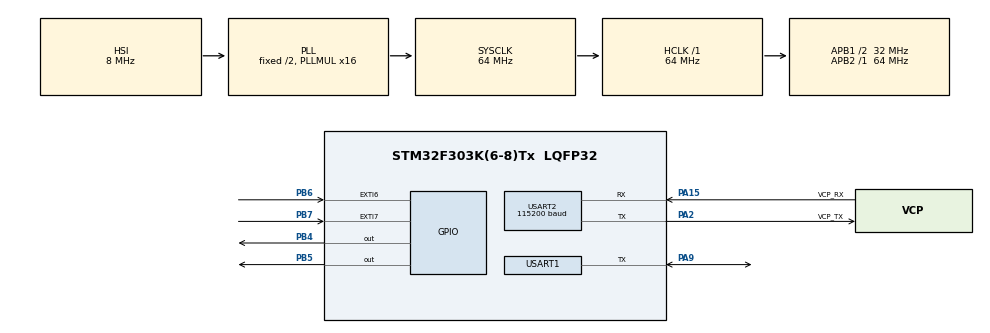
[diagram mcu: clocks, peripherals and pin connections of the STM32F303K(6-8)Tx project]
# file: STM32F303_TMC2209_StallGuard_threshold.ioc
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Mcu.Family=STM32F3
Mcu.Name=STM32F303K(6-8)Tx
Mcu.Package=LQFP32
NVIC.EXTI9_5_IRQn=true\:1\:0\:true\:false\:true\:true\:true\:true
NVIC.PriorityGroup=NVIC_PRIORITYGROUP_4
NVIC.TIM2_IRQn=true\:2\:0\:true\:false\:true\:true\:true\:true
NVIC.TIM3_IRQn=true\:2\:0\:true\:false\:true\:true\:true\:true
NVIC.USART2_IRQn=true\:0\:0\:false\:false\:true\:true\:true\:true
PA13.GPIO_Label=SWDIO
PA13.Mode=Serial_Wire
PA13.Signal=SYS_JTMS-SWDIO
PA14.GPIO_Label=SWCLK
PA14.Mode=Serial_Wire
PA14.Signal=SYS_JTCK-SWCLK
PA15.GPIO_Label=VCP_RX
PA15.Mode=Asynchronous
PA15.Signal=USART2_RX
PA2.GPIO_Label=VCP_TX
PA2.Mode=Asynchronous
PA2.Signal=USART2_TX
PA9.Mode=Half_duplex(single_wire_mode)
PA9.Signal=USART1_TX
PB4.Signal=GPIO_Output
PB5.Signal=GPIO_Output
PB6.GPIO_ModeDefaultEXTI=GPIO_MODE_IT_RISING_FALLING
PB6.Signal=GPXTI6
PB7.GPIO_ModeDefaultEXTI=GPIO_MODE_IT_RISING_FALLING
PB7.Signal=GPXTI7
PF0\ /\ OSC_IN.GPIO_Label=MCO
PF0\ /\ OSC_IN.Signal=RCC_OSC_IN
ProjectManager.HeapSize=0x200
ProjectManager.StackSize=0x400
ProjectManager.TargetToolchain=STM32CubeIDE
RCC.AHBFreq_Value=64000000
RCC.APB1CLKDivider=RCC_HCLK_DIV2
RCC.APB1Freq_Value=32000000
RCC.APB1TimFreq_Value=64000000
RCC.APB2Freq_Value=64000000
RCC.APB2TimFreq_Value=64000000
RCC.CortexFreq_Value=64000000
RCC.HCLKFreq_Value=64000000
RCC.HSE_VALUE=8000000
RCC.HSI_VALUE=8000000
RCC.PLLMUL=RCC_PLL_MUL16
RCC.SYSCLKFreq_VALUE=64000000
RCC.SYSCLKSourceVirtual=RCC_SYSCLKSOURCE_PLLCLK
TIM2.AutoReloadPreload=TIM_AUTORELOAD_PRELOAD_DISABLE
TIM2.Channel-Output\ Compare1\ No\ Output=TIM_CHANNEL_1
TIM2.Period=65535
TIM2.Prescaler=12800-1
TIM3.AutoReloadPreload=TIM_AUTORELOAD_PRELOAD_DISABLE
TIM3.Channel-Output\ Compare1\ No\ Output=TIM_CHANNEL_1
TIM3.Period=65535
TIM3.Prescaler=640-1
USART1.BaudRate=500000
USART1.VirtualMode-Half_duplex(single_wire_mode)=VM_ASYNC
USART2.BaudRate=115200
USART2.VirtualMode-Asynchronous=VM_ASYNC
VP_TIM2_VS_ClockSourceINT.Mode=Internal
VP_TIM2_VS_no_output1.Mode=Output Compare1 No Output
VP_TIM3_VS_ClockSourceINT.Mode=Internal
VP_TIM3_VS_no_output1.Mode=Output Compare1 No Output
board=NUCLEO-F303K8

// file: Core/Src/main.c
/* USER CODE BEGIN Header */
/**
  ******************************************************************************
  * @file           : main.c
  * @brief          : Main program body
  ******************************************************************************
  * @attention
  *
  * Copyright (c) 2022 STMicroelectronics.
  * All rights reserved.
  *
  * This software is licensed under terms that can be found in the LICENSE file
  * in the root directory of this software component.
  * If no LICENSE file comes with this software, it is provided AS-IS.
  *
  ******************************************************************************
  */
/* USER CODE END Header */
#include "main.h"

/* USER CODE BEGIN Includes */
#include <stdio.h>
#include "tmc/ic/TMC2209/TMC2209.h"
#include <math.h>

/* USER CODE END Includes */

/* USER CODE BEGIN PTD */
typedef struct {
	float acceleration;
	volatile unsigned int minStepInterval;
	void (*dirFunc)(int);
	void (*stepFunc)();

	uint8_t homing;
	unsigned int c0;
	volatile int stepPosition;

	volatile int dir; // 1 or -1
	volatile int dir_inv; //set 1 to reverse the dir

	volatile int pull_off; //set pull_off distance

	volatile int seeking_vel;
	volatile int homing_vel;

	volatile unsigned int totalSteps;

	volatile char movementDone;
	volatile unsigned int rampUpStepCount;
	volatile unsigned int n; // index
	volatile float d; // current interval length
	volatile unsigned long di; // d -> unsigned  di
	volatile unsigned int stepCount;

}stepperInfo;

typedef struct{
	volatile unsigned int checkcount;
}checkerInfo;

/* USER CODE END PTD */

/* USER CODE BEGIN PD */
#define TMC2209_CRC(data, length) tmc_CRC8(data, length, 1)

//#define NUM_stepper 1

/* USER CODE END PD */

 TIM_HandleTypeDef htim2;
TIM_HandleTypeDef htim3;

UART_HandleTypeDef huart1;
UART_HandleTypeDef huart2;

/* USER CODE BEGIN PV */
//static TMC2209TypeDef TMC2209; //TMC2209の設定などの定義
//static ConfigurationTypeDef *TMC2209_config; //TMC2209の設定
TMC2209TypeDef TMC2209; //TMC2209の設定などの定義
ConfigurationTypeDef TMC2209_config; //TMC2209の設定
volatile stepperInfo stepper[1];    //stepperInfo型の配列stepperにNUM_stepperで定義した値を代入
volatile checkerInfo currentget[1];
uint8_t current_stall = 0;

/* USER CODE END PV */

void SystemClock_Config(void);
static void MX_GPIO_Init(void);
static void MX_USART2_UART_Init(void);
static void MX_USART1_UART_Init(void);
static void MX_TIM3_Init(void);
static void MX_TIM2_Init(void);
/* USER CODE BEGIN PFP */
//static void periodicJob(uint32_t tick);
static uint8_t reset(void);
static uint8_t restore(void);
//static TMC2209TypeDef TMC2209;

/* USER CODE END PFP */

/* USER CODE BEGIN 0 */

/*void HAL_TIM_PeriodElapsedCallback(TIM_HandleTypeDef *htim)
{
    if (htim == &htim3){ //htim3に設定したタイマー割り込みの時間で発火する
        HAL_GPIO_TogglePin(GPIOB, GPIO_PIN_5);//ピンの出力を切り替え
    }
}*/
void tmc2209_readWriteArray(uint8_t channel, uint8_t *data, size_t writeLength, size_t readLength)
{
	//set your uart read write
	//UART_readWrite(channelToUART(channel), data, writeLength, readLength);
	HAL_HalfDuplex_EnableTransmitter(&huart1);
	HAL_UART_Transmit(&huart1, data, writeLength,100);

	if(readLength > 0){
		HAL_HalfDuplex_EnableReceiver(&huart1);
		HAL_UART_Receive(&huart1, data, readLength, 100);
	}
}

uint8_t tmc2209_CRC8(uint8_t *data, size_t length)
{
	return TMC2209_CRC(data, length);
}

static uint8_t reset()
{
	//StepDir_init(STEPDIR_PRECISION);
	//StepDir_setPins(0, Pins.STEP, Pins.DIR, Pins.DIAG);

	return tmc2209_reset(&TMC2209);
}

static uint8_t restore()
{
	return tmc2209_restore(&TMC2209);
}

void TMC2209_INIT()
{
	tmc_fillCRC8Table(0x07, true, 1);

	TMC2209_config.reset = reset;
	TMC2209_config.restore = restore;
	tmc2209_init(&TMC2209, 0, 0, &TMC2209_config, &tmc2209_defaultRegisterResetState[0]);

	//restore();
}

static inline TMC2209TypeDef *motorToIC(uint8_t motor)
{
	UNUSED(motor);

	return &TMC2209;
}
uint8_t currentchekflag=0;
uint8_t currentcompareflag=0;
void currentcheck(){
//	__HAL_TIM_SET_COMPARE(&htim2, TIM_CHANNEL_1, 65500);
	int32_t current_value = 0;
		int32_t DIAG_value = 0;
		int32_t tstep_value = 0;
		int32_t SGTHRS_value = 0;
	//
		tstep_value=TMC2209_FIELD_READ(&TMC2209, TMC2209_TSTEP, TMC2209_TSTEP_MASK, TMC2209_TSTEP_SHIFT);
		printf("tstep: %ld\r\n", tstep_value);
		tmc2209_periodicJob(&TMC2209, HAL_GetTick());

//		SGTHRS_value = tmc2209_readInt(&TMC2209, TMC2209_SGTHRS);
//		printf("SGTHRS: %d\r\n", SGTHRS_value);

		current_value=tmc2209_readInt(&TMC2209, TMC2209_SG_RESULT);	//保持トルクの設定
		printf("SG_RESULT : %ld\r\n", current_value);

	//	current_value = 3;
	//	TMC2209_FIELD_UPDATE(&TMC2209, TMC2209_GCONF, TMC2209_DIAG_MASK, TMC2209_DIAG_SHIFT,toff_value);
	//	tmc2209_periodicJob(&TMC2209, HAL_GetTick());

	//	DIAG_value=TMC2209_FIELD_READ(&TMC2209, TMC2209_GCONF, TMC2209_DIAG_MASK, TMC2209_DIAG_SHIFT);
	//	printf("DIAG : %ld\r\n", DIAG_value);
	//	tmc2209_periodicJob(&TMC2209, HAL_GetTick());
		//currentcompareflag=1;

}

//void HAL_GPIO_EXTI_Callback(uint16_t GPIO_Pin){
//	if(GPIO_Pin == GPIO_PIN_7 ){
//			if(!HAL_GPIO_ReadPin(GPIOB, GPIO_PIN_7)){
//				current_stall|= 0;
//			}
//			if(HAL_GPIO_ReadPin(GPIOB, GPIO_PIN_7)){
//				printf("current_stall!!rn");
//				current_stall = 1;
//			}
//		}
//}

void Step0(){                                       //step pin
	//pull+

	HAL_GPIO_WritePin(GPIOB, GPIO_PIN_5, GPIO_PIN_RESET);
	HAL_GPIO_WritePin(GPIOB, GPIO_PIN_5, GPIO_PIN_SET);
}

void Dir0(int dir){
	HAL_GPIO_WritePin(GPIOB, GPIO_PIN_4, dir); //Dir0関数にdirピンを指定して格納
}

uint8_t remainingstepperFlag = 0;
uint8_t stopflag = 0;
void motorrotate(int absolute_steps){
	volatile stepperInfo* si = &stepper[0];	//stepper[0]のアドレスをstepperInfo* si に代入
	int steps = absolute_steps - si->stepPosition;
//	printf("steps:%d\r\n",steps);
	if(steps == 0){
					return;
				}
	si->dirFunc( steps < 0 ? 1 : 0);	//Dir0のプラスマイナスの判定して0より小さいなら1、大きいなら0をHAL_GPIO_WritePin(GPIOB, GPIO_PIN_4, dir)のdirにいれる
	si->dir = steps > 0 ? 1:-1;			//stepsが0より大きければ1、小さければ２をdirにいれる
	si->totalSteps = abs(steps);	//stepsの値をアブソリュートでtotalstepsに格納
	si->di = si->acceleration;      //変数*siがメンバc0にアクセス.した値に変数*siがメンバaccelerationにアクセス.した値を代入する
	si->stepCount = 0;
	si->n = 0;
//	printf("steps:%d\r\n",steps);
	remainingstepperFlag |= 1;
}
volatile uint8_t nextStepperFlag = 0;
void setNextInterruptInterval(){
	unsigned int mind = 999999;
	if( (remainingstepperFlag) && stepper[0].di < mind ){
		mind = stepper[0].di;		//diに格納されているの(acceleration)を読み込む
	}
	nextStepperFlag = 0;
	if( 1 && stepper[0].di == mind ){
		nextStepperFlag |= 1;
	}
	__HAL_TIM_SET_COMPARE(&htim3, TIM_CHANNEL_1, mind);		//mindにコンペアを設定
	if (remainingstepperFlag == 0){
		__HAL_TIM_SET_COMPARE(&htim3, TIM_CHANNEL_1, 65500);
	}
	__HAL_TIM_SET_COMPARE(&htim3, TIM_CHANNEL_1, mind);
	//printf("nownompare:%d\r\n",mind);

}
void rotationalprocess(){
	__HAL_TIM_SET_COMPARE(&htim3, TIM_CHANNEL_1, 65500);
//	int32_t current_value = 0;
//	current_value=tmc2209_readInt(&TMC2209, TMC2209_SG_RESULT);	//保持トルクの設定
//	printf("SG_RESULT : %ld\r\n", current_value);
	volatile stepperInfo* s = &stepper[0];
		if( (s->stepCount) < (s->totalSteps)&& !(current_stall) ){		//1周ごとにカウントしたstepCountがabs(steps)より小さかったら==動作が終了するまで
				s->stepFunc();							//stepをOFF ONとする
				s->stepCount++;							//カウント
				s->stepPosition += s->dir;		//dir(+もしくはー(dirの向き）を加算してstepPositionに格納
				if ( (s->stepCount) >= (s->totalSteps) ){	//stepCountがtotalStepsを超えたとき、remainingstepperFlagを
					remainingstepperFlag &= ~1;
				}
		}
	volatile checkerInfo* t = &currentget[0];
	t->checkcount++;
	if(t->checkcount==2500&&remainingstepperFlag==1){
		currentcheck();
		t->checkcount=0;
	}

}
void HAL_TIM_OC_DelayElapsedCallback(TIM_HandleTypeDef *htim){      //指定したコンペアを超えた時発火
	//HAL_TIM_OC_Stop_IT(&htim3, TIM_CHANNEL_1);
	if(htim==&htim3){
		rotationalprocess();
		setNextInterruptInterval();
		__HAL_TIM_SET_COUNTER(&htim3, 0);			//カウンター0
	}
}

void runAndWait(){
	setNextInterruptInterval();
//	currentcheck();
	while(remainingstepperFlag);
}
//void HAL_TIM_PeriodElapsedCallback(TIM_HandleTypeDef *htim)
//{
//    if (htim == &htim2){
//		currentcheck();
//    }
//}
void TMCsetup(){
	int32_t mstep_value = 0;
	int32_t toff_value = 0;
	int32_t microstep_value = 0;
	int32_t IRUN_value = 0;
	int32_t IHOLD_value = 0;
	int32_t IHOLDDELAY_value= 0;
	int32_t buffer = 0;
	int32_t stallgard_setup_value=0;
	int32_t TCOOLTHRS_value=0;
	int32_t buffer_TPWMTHRS=0;
	int32_t TPWMTHRS_value=0;
	int32_t SEMIN_value=0;
	int32_t SEMAX_value=0;
	int32_t SEIMIN_scale_value=0;
	int32_t RSENSE_value=0;
	int32_t SEDN_value=0;
//	int32_t FCLKTRIM_scale_value=0;

//	FCLKTRIM_scale_value=TMC2209_FIELD_READ(&TMC2209, TMC2209_FACTORY_CONF, TMC2209_FCLKTRIM_MASK, TMC2209_FCLKTRIM_SHIFT);
//	FCLKTRIM_scale_value=31;
//	TMC2209_FIELD_UPDATE(&TMC2209, TMC2209_FACTORY_CONF, TMC2209_FCLKTRIM_MASK, TMC2209_FCLKTRIM_SHIFT, FCLKTRIM_scale_value);
//	printf("FCLKTRIM: %ld\r\n", FCLKTRIM_scale_value);

	IRUN_value = 18;
	TMC2209_FIELD_UPDATE(&TMC2209, TMC2209_IHOLD_IRUN, TMC2209_IRUN_MASK, TMC2209_IRUN_SHIFT, IRUN_value);	//実行電流
	tmc2209_periodicJob(&TMC2209, HAL_GetTick());
	HAL_Delay(100);
	IHOLD_value=TMC2209_FIELD_READ(&TMC2209, TMC2209_IHOLD_IRUN, TMC2209_IRUN_MASK, TMC2209_IRUN_SHIFT);
	printf("IRUN: %ld\r\n", IRUN_value);

	IHOLD_value=5;																							//モーター待機時の電流の設定
	TMC2209_FIELD_UPDATE(&TMC2209,TMC2209_IHOLD_IRUN, TMC2209_IHOLD_MASK, TMC2209_IHOLD_SHIFT, IHOLD_value);
	tmc2209_periodicJob(&TMC2209, HAL_GetTick());
	HAL_Delay(100);
	IHOLD_value=TMC2209_FIELD_READ(&TMC2209, TMC2209_IHOLD_IRUN, TMC2209_IHOLD_MASK, TMC2209_IHOLD_SHIFT);	//保持電流
	printf("IHOLD: %ld\r\n", IHOLD_value);

	mstep_value = TMC2209_FIELD_READ(&TMC2209, TMC2209_GCONF, TMC2209_MSTEP_REG_SELECT_MASK,TMC2209_MSTEP_REG_SELECT_SHIFT);	//uartでのmicrostepの有効化
	printf("mstep_before : %ld\r\n", mstep_value);
	mstep_value = 1;
	TMC2209_FIELD_UPDATE(&TMC2209, TMC2209_GCONF, TMC2209_MSTEP_REG_SELECT_MASK, TMC2209_MSTEP_REG_SELECT_SHIFT,mstep_value);
	tmc2209_periodicJob(&TMC2209, HAL_GetTick());
	mstep_value=TMC2209_FIELD_READ(&TMC2209, TMC2209_GCONF, TMC2209_MSTEP_REG_SELECT_MASK, TMC2209_MSTEP_REG_SELECT_SHIFT);
	printf("mstep_after : %ld\r\n", mstep_value);

	toff_value=TMC2209_FIELD_READ(&TMC2209, TMC2209_CHOPCONF, TMC2209_TOFF_MASK, TMC2209_TOFF_SHIFT);	//保持トルクの設定
	printf("toff_before : %ld\r\n", toff_value);
	toff_value = 4;
	TMC2209_FIELD_UPDATE(&TMC2209, TMC2209_CHOPCONF, TMC2209_TOFF_MASK, TMC2209_TOFF_SHIFT,toff_value);
	tmc2209_periodicJob(&TMC2209, HAL_GetTick());
	toff_value=TMC2209_FIELD_READ(&TMC2209, TMC2209_CHOPCONF, TMC2209_TOFF_MASK, TMC2209_TOFF_SHIFT);
	printf("toff_after : %ld\r\n", toff_value);

	microstep_value = 256 >> TMC2209_FIELD_READ(&TMC2209, TMC2209_CHOPCONF, TMC2209_MRES_MASK, TMC2209_MRES_SHIFT);	//microstepの設定
	printf("microstep_before : %ld\r\n", microstep_value);
	microstep_value = 4;
	TMC2209_FIELD_UPDATE(&TMC2209, TMC2209_CHOPCONF, TMC2209_MRES_MASK, TMC2209_MRES_SHIFT,microstep_value);
	tmc2209_periodicJob(&TMC2209, HAL_GetTick());
	microstep_value = 256 >> TMC2209_FIELD_READ(&TMC2209, TMC2209_CHOPCONF, TMC2209_MRES_MASK, TMC2209_MRES_SHIFT);
	printf("microstep_after : %ld\r\n", microstep_value);

	IHOLDDELAY_value=4;
	TMC2209_FIELD_UPDATE(&TMC2209, TMC2209_IHOLD_IRUN, TMC2209_IHOLDDELAY_MASK, TMC2209_IHOLDDELAY_SHIFT, IHOLDDELAY_value);
	tmc2209_periodicJob(&TMC2209, HAL_GetTick());
	IHOLDDELAY_value=TMC2209_FIELD_READ(&TMC2209, TMC2209_IHOLD_IRUN, TMC2209_IHOLDDELAY_MASK, TMC2209_IHOLDDELAY_SHIFT);
	printf("IHOLDDELAY: %ld\r\n", IHOLDDELAY_value);

	stallgard_setup_value=20;											//SG_RESULTと比較して、
	tmc2209_writeInt(&TMC2209, TMC2209_SGTHRS, stallgard_setup_value);
	tmc2209_periodicJob(&TMC2209, HAL_GetTick());
	stallgard_setup_value = tmc2209_readInt(&TMC2209, TMC2209_SGTHRS);
	printf("SGTHRS: %ld\r\n", stallgard_setup_value);

//	buffer = tmc2209_readInt(&TMC2209, TMC2209_TCOOLTHRS);
	TCOOLTHRS_value=1000;
////	TCOOLTHRS_value = MIN(0xFFFFF, (1<<24) / ((buffer) ? buffer : 1));
////	TCOOLTHRS_value -= (TCOOLTHRS_value) >> 3;
////				if (TCOOLTHRS_value)
////				{
////					TCOOLTHRS_value= MIN(0x000FFFFF, (1<<24) / (TCOOLTHRS_value));
////				}
////				else
////				{
////					TCOOLTHRS_value = 0x000FFFFF;
////				}
	tmc2209_writeInt(&TMC2209, TMC2209_TCOOLTHRS, TCOOLTHRS_value);
	tmc2209_periodicJob(&TMC2209, HAL_GetTick());
	printf("TCOOLTHRS: %ld\r\n", TCOOLTHRS_value);

//	buffer_TPWMTHRS=0;
//	buffer_TPWMTHRS = tmc2209_readInt(&TMC2209, TMC2209_TPWMTHRS);
//	TPWMTHRS_value = MIN(0xFFFFF, (1<<24) / ((buffer_TPWMTHRS) ? buffer_TPWMTHRS : 1));
//
//	TPWMTHRS_value = MIN(0xFFFFF, (1<<24) / ((TPWMTHRS_value) ? TPWMTHRS_value : 1));

//	TPWMTHRS_value=10;
//	tmc2209_writeInt(&TMC2209, TMC2209_TPWMTHRS, TPWMTHRS_value);
//	tmc2209_periodicJob(&TMC2209, HAL_GetTick());
//	printf("TPWMTHRS: %ld\r\n", TPWMTHRS_value);

	//SEMIN_value = TMC2209_FIELD_READ(&TMC2209, TMC2209_COOLCONF, TMC2209_SEIMIN_MASK, TMC2209_SEIMIN_SHIFT);

	SEMIN_value=5;
	TMC2209_FIELD_UPDATE(&TMC2209, TMC2209_COOLCONF, TMC2209_SEIMIN_MASK, TMC2209_SEIMIN_SHIFT, SEMIN_value);
	tmc2209_periodicJob(&TMC2209, HAL_GetTick());
	printf("SEMIN: %ld\r\n", SEMIN_value);
//
//	//SEMAX_value = TMC2209_FIELD_READ(&TMC2209, TMC2209_COOLCONF, TMC2209_SEMAX_MASK, TMC2209_SEMAX_SHIFT);
	SEMAX_value = 2;
	TMC2209_FIELD_UPDATE(&TMC2209, TMC2209_COOLCONF, TMC2209_SEIMIN_MASK, TMC2209_SEIMIN_SHIFT, SEMIN_value);
	tmc2209_periodicJob(&TMC2209, HAL_GetTick());
	printf("SEMAX: %ld\r\n", SEMAX_value);

//	SEIMIN_scale_value=1;		//IRUNのスケールを1/4
//	TMC2209_FIELD_UPDATE(&TMC2209, TMC2209_COOLCONF, TMC2209_SEIMIN_MASK, TMC2209_SEIMIN_SHIFT, SEIMIN_scale_value);
//	printf("SEIMIN_scal: %ld\r\n", SEIMIN_scale_value);

	SEDN_value=TMC2209_FIELD_READ(&TMC2209, TMC2209_COOLCONF, TMC2209_SEDN_MASK, TMC2209_SEDN_SHIFT);
	tmc2209_periodicJob(&TMC2209, HAL_GetTick());
	printf("SEDN: %ld\r\n", SEDN_value);

}

uint8_t uartflag1=0;

void HAL_UART_RxCpltCallback(UART_HandleTypeDef *huart)
{
	uartflag1 = 1;
	printf("uart_timer\r\n");
}

/* USER CODE END 0 */

int main(void)
{
  /* USER CODE BEGIN 1 */
	setbuf(stdout, NULL);
	//uint8_t buffer[256];
	//char rxbuf[1];
	char start[] ="1:front,2:back\r\n";
	char front[] ="front turn\r\n";
	char back[] ="back turn\r\n";
	char nonans[] ="Not Understand \r\n";
	char rxbuf[1];

  /* USER CODE END 1 */

  /* MCU Configuration--------------------------------------------------------*/

  /* Reset of all peripherals, Initializes the Flash interface and the Systick. */
  HAL_Init();

  /* Configure the system clock */
  SystemClock_Config();

  /* Initialize all configured peripherals */
  MX_GPIO_Init();
  MX_USART2_UART_Init();
  MX_USART1_UART_Init();
  MX_TIM3_Init();
  MX_TIM2_Init();
  /* USER CODE BEGIN 2 */
  //int getserial=0;
  TMC2209_INIT();
  printf("Hello\r\n");
  HAL_UART_Transmit(&huart2,(uint8_t *)start,sizeof(start),3000);
  //HAL_TIM_Base_Start_IT(&htim2);
  HAL_TIM_OC_Start_IT(&htim3, TIM_CHANNEL_1);
  //HAL_TIM_OC_Start_IT(&htim2, TIM_CHANNEL_1);

  stepper[0].dirFunc = Dir0;
  stepper[0].stepFunc = Step0;
  stepper[0].acceleration = 100-1;
  stepper[0].minStepInterval = 100;
  stepper[0].homing = 0;
  stepper[0].dir_inv = 1;
  stepper[0].seeking_vel = 100;
  stepper[0].homing_vel = 200;
  stepper[0].pull_off = 100;
  rxbuf[0]=0;
  uartflag1=0;
  /* USER CODE END 2 */

  /* Infinite loop */
  while (1)
  {

    /* USER CODE BEGIN 3 */
	  //example read register value
	  //int32_t value = 0;
	  HAL_UART_Receive_IT(&huart2,(uint8_t *)rxbuf, 1);
//	  while(uartflag1==0){
//		  ;
//	  }
	  HAL_UART_Transmit(&huart2,(uint8_t *)rxbuf,sizeof(rxbuf),3000);
	  if(uartflag1==1){
		  if (rxbuf[0] != 0){
			  if(rxbuf[0] == '1'){
				  //HAL_UART_Transmit_IT(&huart2,(uint8_t *)front, sizeof(front));
				  printf("1:start\r\n");
//				  currentcheck();
				  motorrotate(10000);
				  //currentcheck();
				  runAndWait();
				  motorrotate(0);
				  runAndWait();
				  HAL_Delay(100);
				  printf("1:end\r\n");
				  rxbuf[0]=0;

			  }
			  if(rxbuf[0] == '2'){
				  TMCsetup();
				  rxbuf[0]=0;

			  }
			  else{
				  HAL_UART_Transmit_IT(&huart2,(uint8_t *)nonans, sizeof(nonans));
				  rxbuf[0]=0;
			  }
			  uartflag1=0;
		  }
	  }

	  //HAL_Delay(100);
  }

  /* USER CODE END 3 */
}

void SystemClock_Config(void)
{
  RCC_OscInitTypeDef RCC_OscInitStruct = {0};
  RCC_ClkInitTypeDef RCC_ClkInitStruct = {0};
  RCC_PeriphCLKInitTypeDef PeriphClkInit = {0};

  /** Initializes the RCC Oscillators according to the specified parameters
  * in the RCC_OscInitTypeDef structure.
  */
  RCC_OscInitStruct.OscillatorType = RCC_OSCILLATORTYPE_HSI;
  RCC_OscInitStruct.HSIState = RCC_HSI_ON;
  RCC_OscInitStruct.HSICalibrationValue = RCC_HSICALIBRATION_DEFAULT;
  RCC_OscInitStruct.PLL.PLLState = RCC_PLL_ON;
  RCC_OscInitStruct.PLL.PLLSource = RCC_PLLSOURCE_HSI;
  RCC_OscInitStruct.PLL.PLLMUL = RCC_PLL_MUL16;
  if (HAL_RCC_OscConfig(&RCC_OscInitStruct) != HAL_OK)
  {
    Error_Handler();
  }

  /** Initializes the CPU, AHB and APB buses clocks
  */
  RCC_ClkInitStruct.ClockType = RCC_CLOCKTYPE_HCLK|RCC_CLOCKTYPE_SYSCLK
                              |RCC_CLOCKTYPE_PCLK1|RCC_CLOCKTYPE_PCLK2;
  RCC_ClkInitStruct.SYSCLKSource = RCC_SYSCLKSOURCE_PLLCLK;
  RCC_ClkInitStruct.AHBCLKDivider = RCC_SYSCLK_DIV1;
  RCC_ClkInitStruct.APB1CLKDivider = RCC_HCLK_DIV2;
  RCC_ClkInitStruct.APB2CLKDivider = RCC_HCLK_DIV1;

  if (HAL_RCC_ClockConfig(&RCC_ClkInitStruct, FLASH_LATENCY_2) != HAL_OK)
  {
    Error_Handler();
  }
  PeriphClkInit.PeriphClockSelection = RCC_PERIPHCLK_USART1;
  PeriphClkInit.Usart1ClockSelection = RCC_USART1CLKSOURCE_PCLK1;
  if (HAL_RCCEx_PeriphCLKConfig(&PeriphClkInit) != HAL_OK)
  {
    Error_Handler();
  }
}

static void MX_TIM2_Init(void)
{

  TIM_ClockConfigTypeDef sClockSourceConfig = {0};
  TIM_MasterConfigTypeDef sMasterConfig = {0};
  TIM_OC_InitTypeDef sConfigOC = {0};

  htim2.Instance = TIM2;
  htim2.Init.Prescaler = 12800-1;
  htim2.Init.CounterMode = TIM_COUNTERMODE_UP;
  htim2.Init.Period = 65535;
  htim2.Init.ClockDivision = TIM_CLOCKDIVISION_DIV1;
  htim2.Init.AutoReloadPreload = TIM_AUTORELOAD_PRELOAD_DISABLE;
  if (HAL_TIM_Base_Init(&htim2) != HAL_OK)
  {
    Error_Handler();
  }
  sClockSourceConfig.ClockSource = TIM_CLOCKSOURCE_INTERNAL;
  if (HAL_TIM_ConfigClockSource(&htim2, &sClockSourceConfig) != HAL_OK)
  {
    Error_Handler();
  }
  if (HAL_TIM_OC_Init(&htim2) != HAL_OK)
  {
    Error_Handler();
  }
  sMasterConfig.MasterOutputTrigger = TIM_TRGO_RESET;
  sMasterConfig.MasterSlaveMode = TIM_MASTERSLAVEMODE_DISABLE;
  if (HAL_TIMEx_MasterConfigSynchronization(&htim2, &sMasterConfig) != HAL_OK)
  {
    Error_Handler();
  }
  sConfigOC.OCMode = TIM_OCMODE_TIMING;
  sConfigOC.Pulse = 0;
  sConfigOC.OCPolarity = TIM_OCPOLARITY_HIGH;
  sConfigOC.OCFastMode = TIM_OCFAST_DISABLE;
  if (HAL_TIM_OC_ConfigChannel(&htim2, &sConfigOC, TIM_CHANNEL_1) != HAL_OK)
  {
    Error_Handler();
  }

}

static void MX_TIM3_Init(void)
{

  TIM_ClockConfigTypeDef sClockSourceConfig = {0};
  TIM_MasterConfigTypeDef sMasterConfig = {0};
  TIM_OC_InitTypeDef sConfigOC = {0};

  htim3.Instance = TIM3;
  htim3.Init.Prescaler = 640-1;
  htim3.Init.CounterMode = TIM_COUNTERMODE_UP;
  htim3.Init.Period = 65535;
  htim3.Init.ClockDivision = TIM_CLOCKDIVISION_DIV1;
  htim3.Init.AutoReloadPreload = TIM_AUTORELOAD_PRELOAD_DISABLE;
  if (HAL_TIM_Base_Init(&htim3) != HAL_OK)
  {
    Error_Handler();
  }
  sClockSourceConfig.ClockSource = TIM_CLOCKSOURCE_INTERNAL;
  if (HAL_TIM_ConfigClockSource(&htim3, &sClockSourceConfig) != HAL_OK)
  {
    Error_Handler();
  }
  if (HAL_TIM_OC_Init(&htim3) != HAL_OK)
  {
    Error_Handler();
  }
  sMasterConfig.MasterOutputTrigger = TIM_TRGO_RESET;
  sMasterConfig.MasterSlaveMode = TIM_MASTERSLAVEMODE_DISABLE;
  if (HAL_TIMEx_MasterConfigSynchronization(&htim3, &sMasterConfig) != HAL_OK)
  {
    Error_Handler();
  }
  sConfigOC.OCMode = TIM_OCMODE_TIMING;
  sConfigOC.Pulse = 0;
  sConfigOC.OCPolarity = TIM_OCPOLARITY_HIGH;
  sConfigOC.OCFastMode = TIM_OCFAST_DISABLE;
  if (HAL_TIM_OC_ConfigChannel(&htim3, &sConfigOC, TIM_CHANNEL_1) != HAL_OK)
  {
    Error_Handler();
  }

}

static void MX_USART1_UART_Init(void)
{

  huart1.Instance = USART1;
  huart1.Init.BaudRate = 500000;
  huart1.Init.WordLength = UART_WORDLENGTH_8B;
  huart1.Init.StopBits = UART_STOPBITS_1;
  huart1.Init.Parity = UART_PARITY_NONE;
  huart1.Init.Mode = UART_MODE_TX_RX;
  huart1.Init.HwFlowCtl = UART_HWCONTROL_NONE;
  huart1.Init.OverSampling = UART_OVERSAMPLING_16;
  huart1.Init.OneBitSampling = UART_ONE_BIT_SAMPLE_DISABLE;
  huart1.AdvancedInit.AdvFeatureInit = UART_ADVFEATURE_NO_INIT;
  if (HAL_HalfDuplex_Init(&huart1) != HAL_OK)
  {
    Error_Handler();
  }

}

static void MX_USART2_UART_Init(void)
{

  huart2.Instance = USART2;
  huart2.Init.BaudRate = 115200;
  huart2.Init.WordLength = UART_WORDLENGTH_8B;
  huart2.Init.StopBits = UART_STOPBITS_1;
  huart2.Init.Parity = UART_PARITY_NONE;
  huart2.Init.Mode = UART_MODE_TX_RX;
  huart2.Init.HwFlowCtl = UART_HWCONTROL_NONE;
  huart2.Init.OverSampling = UART_OVERSAMPLING_16;
  huart2.Init.OneBitSampling = UART_ONE_BIT_SAMPLE_DISABLE;
  huart2.AdvancedInit.AdvFeatureInit = UART_ADVFEATURE_NO_INIT;
  if (HAL_UART_Init(&huart2) != HAL_OK)
  {
    Error_Handler();
  }

}

static void MX_GPIO_Init(void)
{
  GPIO_InitTypeDef GPIO_InitStruct = {0};

  /* GPIO Ports Clock Enable */
  __HAL_RCC_GPIOF_CLK_ENABLE();
  __HAL_RCC_GPIOA_CLK_ENABLE();
  __HAL_RCC_GPIOB_CLK_ENABLE();

  /*Configure GPIO pin Output Level */
  HAL_GPIO_WritePin(GPIOB, GPIO_PIN_4|GPIO_PIN_5, GPIO_PIN_RESET);

  /*Configure GPIO pins : PB4 PB5 */
  GPIO_InitStruct.Pin = GPIO_PIN_4|GPIO_PIN_5;
  GPIO_InitStruct.Mode = GPIO_MODE_OUTPUT_PP;
  GPIO_InitStruct.Pull = GPIO_NOPULL;
  GPIO_InitStruct.Speed = GPIO_SPEED_FREQ_LOW;
  HAL_GPIO_Init(GPIOB, &GPIO_InitStruct);

  /*Configure GPIO pins : PB6 PB7 */
  GPIO_InitStruct.Pin = GPIO_PIN_6|GPIO_PIN_7;
  GPIO_InitStruct.Mode = GPIO_MODE_IT_RISING_FALLING;
  GPIO_InitStruct.Pull = GPIO_NOPULL;
  HAL_GPIO_Init(GPIOB, &GPIO_InitStruct);

  /* EXTI interrupt init*/
  HAL_NVIC_SetPriority(EXTI9_5_IRQn, 1, 0);
  HAL_NVIC_EnableIRQ(EXTI9_5_IRQn);

}

/* USER CODE BEGIN 4 */
int _write(int file, char *ptr, int len)
{
  HAL_UART_Transmit(&huart2,(uint8_t *)ptr,len,10);
  return len;
}

//int _write(int file, char *ptr, int len)
//{
//  int DataIdx;
//  for(DataIdx=0; DataIdx<len; DataIdx++)
//  {
//    ITM_SendChar(*ptr++);
//  }
//  return len;
//}

/* USER CODE END 4 */

void Error_Handler(void)
{
  __disable_irq();
  while (1)
  {
  }
}
